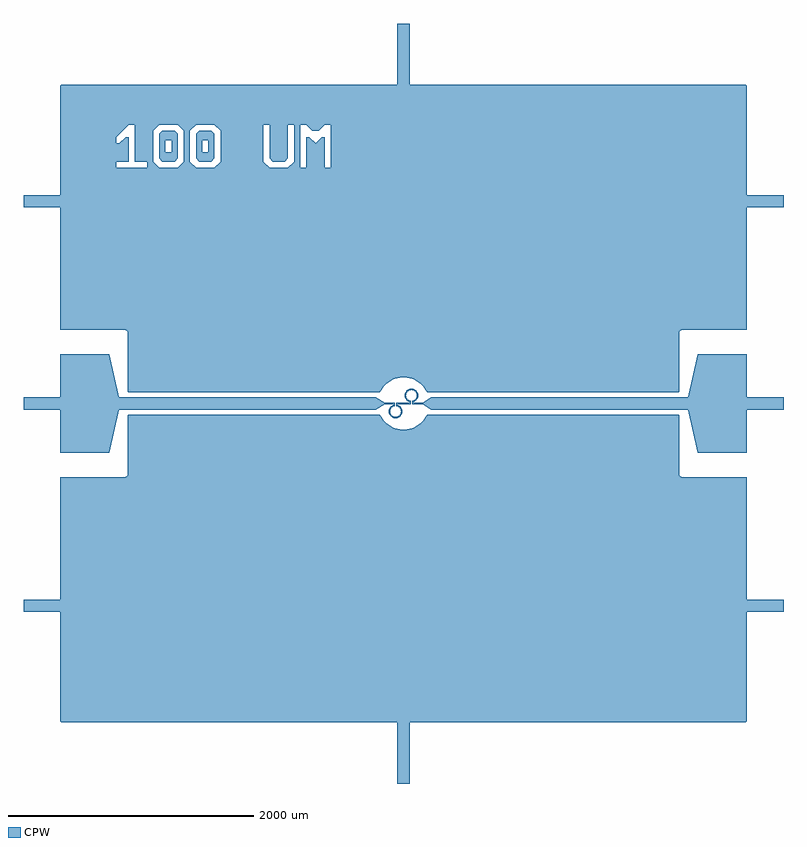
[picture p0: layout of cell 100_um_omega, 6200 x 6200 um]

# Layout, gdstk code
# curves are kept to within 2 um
import gdstk
lib = gdstk.Library(unit=1e-6, precision=1e-09)
def R(c, l, rs):  # rectangles x0, y0, x1, y1
    for r in rs: c.add(gdstk.rectangle(r[:2], r[2:], *l))
def P(c, l, *ps):  # polygons
    for p in ps: c.add(gdstk.Polygon(p, *l))
CPW = (1, 0)

c_100_um_omega = lib.new_cell('100_um_omega')
R(c_100_um_omega, CPW, [(-50,-3100,50,-2502.031), (-3100,-1700,-2750,-1600), (2700.141,-1700,3100,-1600), (-2800,-400,-2400,400), (2400,-400,2800,400), (-3100,-50,-225,50), (225,-50,3100,50), (-3100,1600,-2750,1700), (2750,1600,3100,1700), (-50,2440.096,50,3100)])
P(c_100_um_omega, CPW, [(-225,-50),(-225,50),(-155,7.5),(-155,-7.5)],
  [(225,-50),(155,-7.5),(155,7.5),(225,50)],
  [(-67.702,-120),(-88.544,-114.779),(-101.98,-105.801),(-112.232,-93.31),(-119.47,-73.08),(-118.416,-51.62),(-112.232,-36.69),(-97.803,-20.77),(-82.672,-12.683),(-82.975,-8.268),(-210.735,-7.452),(-215,-2.746),(-214.856,3.716),(-212.14,7.025),(-74.018,6.521),(-72,2.746),(-72.035,-20.381),(-88.163,-26.356),(-101.188,-38.161),(-107.421,-49.822),(-110,-67.211),(-105.729,-84.263),(-98.383,-95.257),(-84.263,-105.729),(-67.211,-110),(-49.822,-107.421),(-34.743,-98.383),(-24.271,-84.263),(-20,-67.211),(-22.579,-49.822),(-28.812,-38.161),(-41.837,-26.356),(-57.965,-20.381),(-56.709,5.862),(-53.246,7.5),(44.897,7.5),(47.69,9.366),(47.328,13.183),(32.197,21.27),(20.77,32.697),(13.153,46.949),(10,62.798),(11.584,78.88),(20.77,98.303),(32.197,109.73),(46.449,117.347),(67.702,120.5),(88.544,115.279),(105.801,102.48),(116.847,84.051),(120,62.798),(114.779,41.956),(101.98,24.699),(82.529,13.04),(83.317,8.139),(210.246,7.5),(214.525,4.64),(214.713,-4.186),(210.246,-7.5),(74.426,-6.794),(72,-2.746),(72.021,20.848),(84.263,24.771),(91.839,29.312),(103.644,42.337),(109.567,58.889),(108.704,76.447),(105.729,84.763),(98.383,95.757),(84.263,106.229),(67.211,110.5),(58.389,110.067),(45.737,106.229),(34.743,98.883),(24.271,84.763),(20.433,72.111),(20.433,58.889),(24.271,46.237),(31.617,35.243),(41.837,26.856),(57.948,20.912),(57.525,-4.64),(53.246,-7.5),(-47.025,-8.268),(-47.328,-12.683),(-32.197,-20.77),(-17.768,-36.69),(-11.584,-51.62),(-10.53,-73.08),(-17.768,-93.31),(-32.197,-109.23),(-51.62,-118.416)],
  [(-2235.737,90),(-2245.086,93.872),(-2250,104.263),(-2250,580.983),(-2256.553,594.837),(-2269.017,600),(-2800,600),(-2800,2273.788),(-2242.377,2273.788),(-2342.377,2173.788),(-2342.377,2123.788),(-2317.377,2123.788),(-2267.377,2173.788),(-2242.377,2173.788),(-2242.377,1973.788),(-2342.377,1973.788),(-2342.377,1923.788),(-2092.377,1923.788),(-2092.377,1973.788),(-2192.377,1973.788),(-2192.377,2273.788),(-1992.377,2273.788),(-2042.377,2223.788),(-2042.377,1973.788),(-1992.377,1923.788),(-1842.377,1923.788),(-1792.377,1973.788),(-1792.377,2223.788),(-1842.377,2273.788),(-1692.377,2273.788),(-1742.377,2223.788),(-1742.377,1973.788),(-1692.377,1923.788),(-1542.377,1923.788),(-1492.377,1973.788),(-1492.377,2223.788),(-1542.377,2273.788),(-942.377,2273.788),(-942.377,1998.788),(-967.377,1973.788),(-1067.377,1973.788),(-1092.377,1998.788),(-1092.377,2273.788),(-1142.377,2273.788),(-1142.377,1973.788),(-1092.377,1923.788),(-942.377,1923.788),(-892.377,1973.788),(-892.377,2273.788),(-642.377,2273.788),(-692.377,2223.788),(-742.377,2223.788),(-792.377,2273.788),(-842.377,2273.788),(-842.377,1923.788),(-792.377,1923.788),(-792.377,2173.788),(-767.377,2173.788),(-717.377,2123.788),(-667.377,2173.788),(-642.377,2173.788),(-642.377,1923.788),(-592.377,1923.788),(-592.377,2273.788),(-2800,2273.788),(-2800,2585.737),(-2797.063,2593.946),(-2791.421,2598.576),(2785.737,2600),(2793.946,2597.063),(2798.576,2591.421),(2800,600),(2269.017,600),(2256.553,594.837),(2250,580.983),(2250,104.263),(2247.063,96.054),(2241.421,91.424),(193.631,90),(157.642,142.878),(142.878,157.642),(109.379,182.487),(90.965,192.329),(51.696,206.38),(31.218,210.454),(-10.439,212.5),(-31.218,210.454),(-71.675,200.319),(-109.379,182.487),(-126.739,170.887),(-157.642,142.878),(-193.631,90)],
  [(-1967.377,1973.788),(-1992.377,1998.788),(-1992.377,2148.788),(-1942.377,2148.788),(-1942.377,2048.788),(-1892.377,2048.788),(-1892.377,2148.788),(-1992.377,2148.788),(-1992.377,2198.788),(-1967.377,2223.788),(-1867.377,2223.788),(-1842.377,2198.788),(-1842.377,1998.788),(-1867.377,1973.788)],
  [(-1667.377,1973.788),(-1692.377,1998.788),(-1692.377,2148.788),(-1642.377,2148.788),(-1642.377,2048.788),(-1592.377,2048.788),(-1592.377,2148.788),(-1692.377,2148.788),(-1692.377,2198.788),(-1667.377,2223.788),(-1567.377,2223.788),(-1542.377,2198.788),(-1542.377,1998.788),(-1567.377,1973.788)],
  [(2400,-400),(2320,-40),(2320,40),(2400,400)],
  [(-2400,-400),(-2400,400),(-2320,40),(-2320,-40)],
  [(-2785.737,-2600),(-2795.086,-2596.128),(-2800,-2585.737),(-2800,-600),(-2269.017,-600),(-2256.553,-594.837),(-2250,-580.983),(-2250,-104.263),(-2247.063,-96.054),(-2240.059,-90.86),(-193.631,-90),(-157.642,-142.878),(-142.878,-157.642),(-109.379,-182.487),(-90.965,-192.329),(-51.696,-206.38),(-31.218,-210.454),(10.439,-212.5),(31.218,-210.454),(71.675,-200.319),(109.379,-182.487),(126.739,-170.887),(157.642,-142.878),(193.631,-90),(2237.204,-90.144),(2246.128,-94.914),(2250,-104.263),(2250,-580.983),(2256.553,-594.837),(2269.017,-600),(2800,-600),(2800,-2585.737),(2797.063,-2593.946),(2790.059,-2599.14)])

lib.write_gds('100_um_omega.gds')
